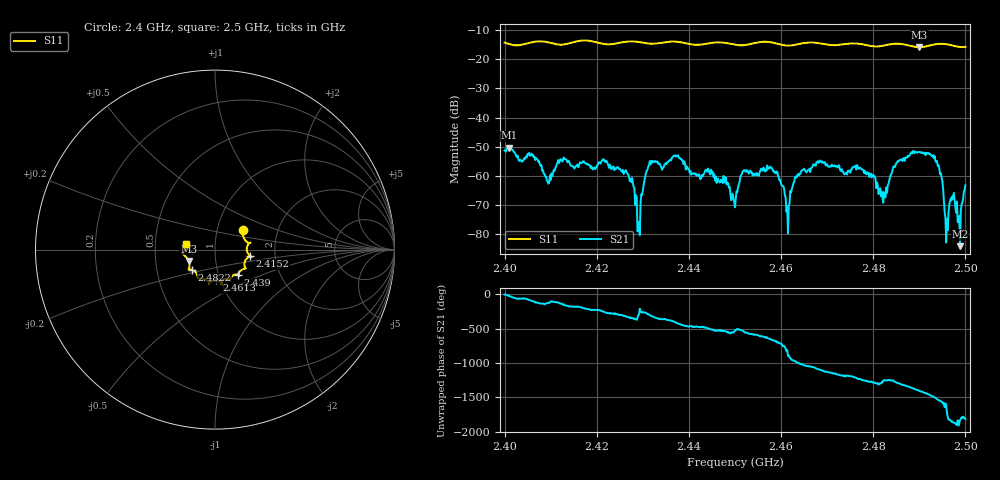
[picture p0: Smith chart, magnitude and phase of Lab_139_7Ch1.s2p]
# Hz S RI R 50
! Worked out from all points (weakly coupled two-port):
!   601 points, 2.4 GHz to 2.5 GHz, reference 50 ohm
!   highest |S21| = -50.34 dB at 2.401 GHz (marker M1); lowest = -84.1 dB at 2.4988 GHz (marker M2)
!   lowest |S11| = -15.9 dB at 2.49 GHz (marker M3), VSWR 1.38, Z = 36.9 - j4.85 ohm
!   |S11| at or under -10 dB: start of sweep to end of sweep
!   S12 and S22 are empty: the file has one direction only
!   S11 on the Smith chart (normalised r, x): 2.4 GHz: 1.33, +0.31; 2.4152 GHz: 1.48, -0.11; 2.439 GHz: 1.24, -0.36; 2.4613 GHz: 0.96, -0.34; 2.4822 GHz: 0.76, -0.17; 2.5 GHz: 0.72, +0.05
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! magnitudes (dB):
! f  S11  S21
! 2.4 GHz  -14.3  -51.3
! 2.401 GHz  -14.8  -50.3
! 2.4095 GHz  -14.2  -62.7
! 2.4152 GHz  -14.1  -57.5
! 2.4167 GHz  -13.6  -55.6
! 2.4265 GHz  -14.0  -58.8
! 2.4288 GHz  -14.0  -79.0
! 2.431 GHz  -14.6  -58.0
! 2.4333 GHz  -14.5  -55.9
! 2.439 GHz  -14.4  -55.1
! 2.45 GHz  -15.0  -70.8
! 2.4575 GHz  -14.1  -57.3
! 2.4613 GHz  -15.3  -70.8
! 2.4667 GHz  -14.3  -57.2
! 2.477 GHz  -14.7  -57.5
! 2.4822 GHz  -15.4  -69.2
! 2.4833 GHz  -15.0  -62.7
! 2.49 GHz  -15.9  -51.9
! 2.4938 GHz  -14.8  -54.9
! 2.4958 GHz  -14.9  -82.9
! 2.4988 GHz  -15.8  -84.1
! 2.5 GHz  -15.8  -63.3
